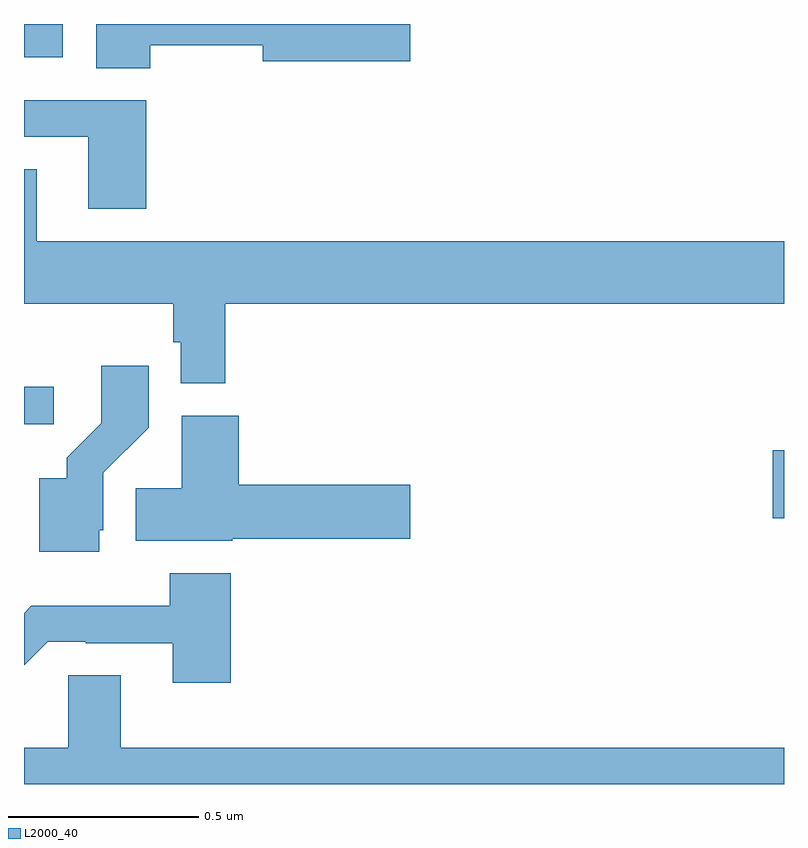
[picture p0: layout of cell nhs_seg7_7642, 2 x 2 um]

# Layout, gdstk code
import gdstk
lib = gdstk.Library(unit=1e-6, precision=1e-09)
def R(c, l, rs):  # rectangles x0, y0, x1, y1
    for r in rs: c.add(gdstk.rectangle(r[:2], r[2:], *l))
def P(c, l, *ps):  # polygons
    for p in ps: c.add(gdstk.Polygon(p, *l))
L2000_40 = (2000, 40)

nhs_seg7_7642 = lib.new_cell('nhs_seg7_7642')
R(nhs_seg7_7642, L2000_40, [(215.97,1018.7,216,1018.878), (214,1018.947,214.078,1019.046), (214,1019.912,214.102,1020)])
P(nhs_seg7_7642, L2000_40, [(214.332,1019.944),(214.628,1019.944),(214.628,1019.902),(215.017,1019.902),(215.017,1020),(214.19,1020),(214.19,1019.884),(214.332,1019.884)],
  [(214.322,1019.799),(214,1019.799),(214,1019.703),(214.169,1019.703),(214.169,1019.514),(214.322,1019.514)],
  [(214.529,1019.264),(216,1019.264),(216,1019.428),(214.033,1019.428),(214.033,1019.618),(214,1019.618),(214,1019.264),(214.393,1019.264),(214.393,1019.163),(214.413,1019.163),(214.413,1019.054),(214.529,1019.054)],
  [(214.198,1018.668),(214.209,1018.668),(214.209,1018.819),(214.328,1018.938),(214.328,1019.101),(214.203,1019.101),(214.203,1018.949),(214.112,1018.859),(214.112,1018.804),(214.04,1018.804),(214.04,1018.611),(214.198,1018.611)],
  [(214.548,1018.646),(215.017,1018.646),(215.017,1018.788),(214.565,1018.788),(214.565,1018.969),(214.415,1018.969),(214.415,1018.778),(214.294,1018.778),(214.294,1018.64),(214.548,1018.64)],
  [(214.544,1018.555),(214.384,1018.555),(214.384,1018.469),(214.019,1018.469),(214,1018.45),(214,1018.312),(214.062,1018.374),(214.162,1018.374),(214.162,1018.371),(214.391,1018.371),(214.391,1018.266),(214.544,1018.266)],
  [(216,1018.096),(214.255,1018.096),(214.255,1018.286),(214.116,1018.286),(214.116,1018.096),(214,1018.096),(214,1018),(216,1018)])

lib.write_gds('nhs_seg7_7642.gds')
